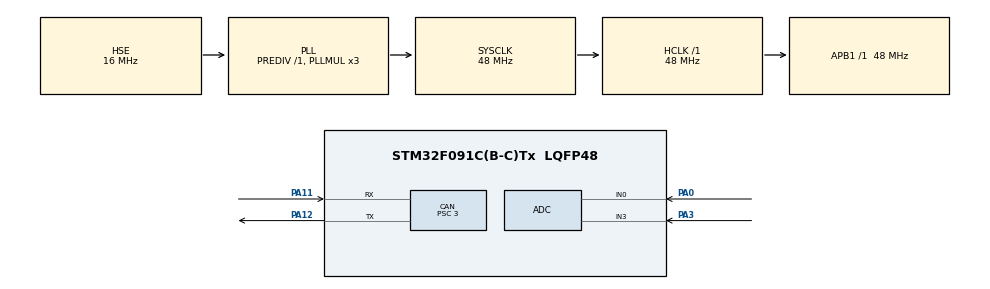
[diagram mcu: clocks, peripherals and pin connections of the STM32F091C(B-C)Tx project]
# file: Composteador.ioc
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Mcu.Family=STM32F0
RCC.PLLSourceVirtual=RCC_PLLSOURCE_HSE
VP_ADC_TempSens_Input.Mode=IN-TempSens
CAN.CalculateBaudRate=1000000
VP_ADC_Vref_Input.Mode=IN-Vrefint
PA11.Mode=CAN_Activate
ADC.ClockPrescaler=ADC_CLOCK_SYNC_PCLK_DIV4
CAN.CalculateTimeBit=1000.00
RCC.SYSCLKSource=RCC_SYSCLKSOURCE_PLLCLK
ProjectManager.StackSize=0x400
PA3.Mode=IN3
PA13.Signal=SYS_SWDIO
PA12.Signal=CAN_TX
CAN.BS2=CAN_BS2_2TQ
CAN.BS1=CAN_BS1_13TQ
CAN.Prescaler=3
ProjectManager.TargetToolchain=STM32CubeIDE
RCC.HCLKFreq_Value=48000000
RCC.AHBFreq_Value=48000000
PF0-OSC_IN.Mode=HSE-External-Clock-Source
RCC.HSE_VALUE=16000000
board=custom
RCC.PLLMUL=RCC_PLL_MUL3
VP_TIM2_VS_ClockSourceINT.Mode=Internal
PA14.Mode=Serial_Wire
NVIC.TIM2_IRQn=true\:0\:0\:false\:false\:true\:true\:true
PA0.Mode=IN0
PA13.Mode=Serial_Wire
Mcu.Name=STM32F091C(B-C)Tx
CAN.CalculateTimeQuantum=62.5
PA0.Signal=ADC_IN0
RCC.SYSCLKFreq_VALUE=48000000
Mcu.Package=LQFP48
TIM2.Prescaler=1
PA12.Mode=CAN_Activate
PA11.Signal=CAN_RX
PA14.Signal=SYS_SWCLK
ProjectManager.HeapSize=0x200
TIM2.TIM_MasterOutputTrigger=TIM_TRGO_RESET
RCC.APB1TimFreq_Value=48000000
PF0-OSC_IN.Signal=RCC_OSC_IN
RCC.APB1Freq_Value=48000000
PA3.Signal=ADC_IN3

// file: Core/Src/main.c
/* USER CODE BEGIN Header */
/**
//LA INFORMACIÓN EN ESTOS HEADERS ES UTIL PARA GENERAR LA DOCUMENTACIÓN EN DOXYGEN
//LA DELIMITACIÓN POR "USER CODE BEGIN/END" ES UTIL PARA LA GENERACIÓN AUTOMATICA DE CODIGO DE STM32CUBE
  ******************************************************************************
  * @file           : main.c
  * @brief          : Main program body
  ******************************************************************************
  * @attention
  *
  * <h2><center>&copy; Copyright (c) 2021 STMicroelectronics.
  * All rights reserved.</center></h2>
  *
  * This software component is licensed by ST under BSD 3-Clause license,
  * the "License"; You may not use this file except in compliance with the
  * License. You may obtain a copy of the License at:
  *                        opensource.org/licenses/BSD-3-Clause
  *
  ******************************************************************************
  */
/* USER CODE END Header */
#include "main.h"

/* USER CODE BEGIN Includes */
#include "sensors.h"
#include "can.h"
/* USER CODE END Includes */

/* USER CODE BEGIN PTD */
typedef enum Error_State {
	//ALL_OK, /* Hack rapido, este enum probablemente es redundante */
	ADC_INIT_FAIL,
	ADC_CHANNEL_0_FAIL,
	ADC_VREF_FAIL,
	ADC_TEMPSENSOR_FAIL,
	CAN_INIT_FAIL,
	CRC_INIT_FAIL,
	TIM2_INIT_FAIL,
	TIM2_CLOCK_SOURCE_FAIL,
	TIM2_IC_FAIL,
	TIM2_SYNC_FAIL,
	TIM2_CHANNEL1_CONFIG_FAIL
} Error_State;
/* USER CODE END PTD */

ADC_HandleTypeDef hadc;

CAN_HandleTypeDef hcan;

TIM_HandleTypeDef htim2;

void SystemClock_Config(void);
static void MX_GPIO_Init(void);
static void MX_CAN_Init(void);
static void MX_ADC_Init(void);
static void MX_TIM2_Init(void);

int main(void)
{

  /* MCU Configuration--------------------------------------------------------*/

  /* Reset of all peripherals, Initializes the Flash interface and the Systick. */
  HAL_Init();

  /* Configure the system clock */
  SystemClock_Config();

  /* Initialize all configured peripherals */
  MX_GPIO_Init();
  MX_CAN_Init();
  MX_ADC_Init();
  MX_TIM2_Init();
  /* USER CODE BEGIN 2 */

  /* Copia handles al struct del usuario */
  sensors_handle sensors_h;
  sensors_h.adc = hadc;
  sensors_h.htim2 = htim2;

  /* Datos de lectura */
  float temp = -1;
  float rh = -1;

  /* Almacen de datos para CAN */
  uint8_t data[CAN_MAX_BYTES];
  for (int i = 0; i < CAN_MAX_BYTES; i++)
    data[i] = 0;

  /* USER CODE END 2 */

  /* Infinite loop */
  while (1)
  {

  }
}

void SystemClock_Config(void)
{
  RCC_OscInitTypeDef RCC_OscInitStruct = {0};
  RCC_ClkInitTypeDef RCC_ClkInitStruct = {0};

  /** Initializes the RCC Oscillators according to the specified parameters
  * in the RCC_OscInitTypeDef structure.
  */
  RCC_OscInitStruct.OscillatorType = RCC_OSCILLATORTYPE_HSE;
  RCC_OscInitStruct.HSEState = RCC_HSE_BYPASS;
  RCC_OscInitStruct.PLL.PLLState = RCC_PLL_ON;
  RCC_OscInitStruct.PLL.PLLSource = RCC_PLLSOURCE_HSE;
  RCC_OscInitStruct.PLL.PLLMUL = RCC_PLL_MUL3;
  RCC_OscInitStruct.PLL.PREDIV = RCC_PREDIV_DIV1;
  if (HAL_RCC_OscConfig(&RCC_OscInitStruct) != HAL_OK)
  {
    Error_Handler();
  }
  /** Initializes the CPU, AHB and APB buses clocks
  */
  RCC_ClkInitStruct.ClockType = RCC_CLOCKTYPE_HCLK|RCC_CLOCKTYPE_SYSCLK
                              |RCC_CLOCKTYPE_PCLK1;
  RCC_ClkInitStruct.SYSCLKSource = RCC_SYSCLKSOURCE_PLLCLK;
  RCC_ClkInitStruct.AHBCLKDivider = RCC_SYSCLK_DIV1;
  RCC_ClkInitStruct.APB1CLKDivider = RCC_HCLK_DIV1;

  if (HAL_RCC_ClockConfig(&RCC_ClkInitStruct, FLASH_LATENCY_1) != HAL_OK)
  {
    Error_Handler();
  }
}

static void MX_ADC_Init(void)
{

  ADC_ChannelConfTypeDef sConfig = {0};

  /** Configure the global features of the ADC (Clock, Resolution, Data Alignment and number of conversion)
  */
  hadc.Instance = ADC1;
  hadc.Init.ClockPrescaler = ADC_CLOCK_SYNC_PCLK_DIV4;
  hadc.Init.Resolution = ADC_RESOLUTION_12B;
  hadc.Init.DataAlign = ADC_DATAALIGN_RIGHT;
  hadc.Init.ScanConvMode = ADC_SCAN_DIRECTION_FORWARD;
  hadc.Init.EOCSelection = ADC_EOC_SINGLE_CONV;
  hadc.Init.LowPowerAutoWait = DISABLE;
  hadc.Init.LowPowerAutoPowerOff = DISABLE;
  hadc.Init.ContinuousConvMode = DISABLE;
  hadc.Init.DiscontinuousConvMode = DISABLE;
  hadc.Init.ExternalTrigConv = ADC_SOFTWARE_START;
  hadc.Init.ExternalTrigConvEdge = ADC_EXTERNALTRIGCONVEDGE_NONE;
  hadc.Init.DMAContinuousRequests = DISABLE;
  hadc.Init.Overrun = ADC_OVR_DATA_PRESERVED;
  if (HAL_ADC_Init(&hadc) != HAL_OK)
  {
    Error_Handler();
  }
  /** Configure for the selected ADC regular channel to be converted.
  */
  sConfig.Channel = ADC_CHANNEL_0;
  sConfig.Rank = ADC_RANK_CHANNEL_NUMBER;
  sConfig.SamplingTime = ADC_SAMPLETIME_1CYCLE_5;
  if (HAL_ADC_ConfigChannel(&hadc, &sConfig) != HAL_OK)
  {
    Error_Handler();
  }
  /** Configure for the selected ADC regular channel to be converted.
  */
  sConfig.Channel = ADC_CHANNEL_3;
  if (HAL_ADC_ConfigChannel(&hadc, &sConfig) != HAL_OK)
  {
    Error_Handler();
  }
  /** Configure for the selected ADC regular channel to be converted.
  */
  sConfig.Channel = ADC_CHANNEL_TEMPSENSOR;
  if (HAL_ADC_ConfigChannel(&hadc, &sConfig) != HAL_OK)
  {
    Error_Handler();
  }
  /** Configure for the selected ADC regular channel to be converted.
  */
  sConfig.Channel = ADC_CHANNEL_VREFINT;
  if (HAL_ADC_ConfigChannel(&hadc, &sConfig) != HAL_OK)
  {
    Error_Handler();
  }

}

static void MX_CAN_Init(void)
{

  hcan.Instance = CAN;
  hcan.Init.Prescaler = 3;
  hcan.Init.Mode = CAN_MODE_NORMAL;
  hcan.Init.SyncJumpWidth = CAN_SJW_1TQ;
  hcan.Init.TimeSeg1 = CAN_BS1_13TQ;
  hcan.Init.TimeSeg2 = CAN_BS2_2TQ;
  hcan.Init.TimeTriggeredMode = DISABLE;
  hcan.Init.AutoBusOff = DISABLE;
  hcan.Init.AutoWakeUp = DISABLE;
  hcan.Init.AutoRetransmission = DISABLE;
  hcan.Init.ReceiveFifoLocked = DISABLE;
  hcan.Init.TransmitFifoPriority = DISABLE;
  if (HAL_CAN_Init(&hcan) != HAL_OK)
  {
    Error_Handler();
  }

}

static void MX_TIM2_Init(void)
{

  TIM_ClockConfigTypeDef sClockSourceConfig = {0};
  TIM_MasterConfigTypeDef sMasterConfig = {0};

  htim2.Instance = TIM2;
  htim2.Init.Prescaler = 1;
  htim2.Init.CounterMode = TIM_COUNTERMODE_UP;
  htim2.Init.Period = 4294967295;
  htim2.Init.ClockDivision = TIM_CLOCKDIVISION_DIV1;
  htim2.Init.AutoReloadPreload = TIM_AUTORELOAD_PRELOAD_DISABLE;
  if (HAL_TIM_Base_Init(&htim2) != HAL_OK)
  {
    Error_Handler();
  }
  sClockSourceConfig.ClockSource = TIM_CLOCKSOURCE_INTERNAL;
  if (HAL_TIM_ConfigClockSource(&htim2, &sClockSourceConfig) != HAL_OK)
  {
    Error_Handler();
  }
  sMasterConfig.MasterOutputTrigger = TIM_TRGO_RESET;
  sMasterConfig.MasterSlaveMode = TIM_MASTERSLAVEMODE_DISABLE;
  if (HAL_TIMEx_MasterConfigSynchronization(&htim2, &sMasterConfig) != HAL_OK)
  {
    Error_Handler();
  }

}

static void MX_GPIO_Init(void)
{

  /* GPIO Ports Clock Enable */
  __HAL_RCC_GPIOF_CLK_ENABLE();
  __HAL_RCC_GPIOA_CLK_ENABLE();

}

void Error_Handler(void)
{
  __disable_irq();
  while (1)
  {
  }
}

/************************ (C) COPYRIGHT STMicroelectronics *****END OF FILE****/
